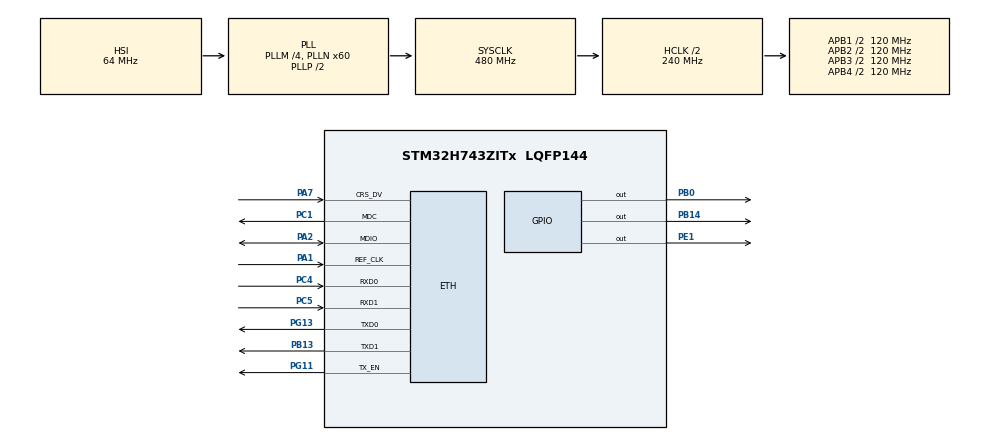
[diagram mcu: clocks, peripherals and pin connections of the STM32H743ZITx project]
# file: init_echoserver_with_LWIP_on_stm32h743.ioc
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CORTEX_M7.AccessPermission-Cortex_Memory_Protection_Unit_Region0_Settings=MPU_REGION_FULL_ACCESS
CORTEX_M7.AccessPermission-Cortex_Memory_Protection_Unit_Region1_Settings=MPU_REGION_FULL_ACCESS
CORTEX_M7.BaseAddress-Cortex_Memory_Protection_Unit_Region0_Settings=0x30040000
CORTEX_M7.BaseAddress-Cortex_Memory_Protection_Unit_Region1_Settings=0x30044000
CORTEX_M7.CPU_DCache=Enabled
CORTEX_M7.CPU_ICache=Enabled
CORTEX_M7.Enable-Cortex_Memory_Protection_Unit_Region0_Settings=MPU_REGION_ENABLE
CORTEX_M7.Enable-Cortex_Memory_Protection_Unit_Region1_Settings=MPU_REGION_ENABLE
CORTEX_M7.IsBufferable-Cortex_Memory_Protection_Unit_Region0_Settings=MPU_ACCESS_BUFFERABLE
CORTEX_M7.IsShareable-Cortex_Memory_Protection_Unit_Region1_Settings=MPU_ACCESS_SHAREABLE
CORTEX_M7.MPU_Control=MPU_PRIVILEGED_DEFAULT
CORTEX_M7.Size-Cortex_Memory_Protection_Unit_Region0_Settings=MPU_REGION_SIZE_256B
CORTEX_M7.Size-Cortex_Memory_Protection_Unit_Region1_Settings=MPU_REGION_SIZE_16KB
CORTEX_M7.TypeExtField-Cortex_Memory_Protection_Unit_Region1_Settings=MPU_TEX_LEVEL1
ETH.MediaInterface=HAL_ETH_RMII_MODE
FREERTOS.Tasks01=TCPechoserverTa,24,256,StartTCPechoserverTask,Default,NULL,Dynamic,NULL,NULL
FREERTOS.configUSE_NEWLIB_REENTRANT=1
LWIP.BSP.number=1
LWIP.GATEWAY_ADDRESS=192.168.001.001
LWIP.IP_ADDRESS=192.168.033.007
LWIP.LWIP_DHCP=0
LWIP.NETMASK_ADDRESS=255.255.255.000
LWIP.Version=v2.1.2_Cube
LWIP0.BSP.STBoard=false
LWIP0.BSP.api=BSP_COMPONENT_DRIVER
LWIP0.BSP.component=LAN8742
LWIP0.BSP.i2caddr=0
LWIP0.BSP.instance=LAN8742
LWIP0.BSP.name=Driver_PHY
LWIP0.BSP.solution=LAN8742
Mcu.Family=STM32H7
Mcu.Name=STM32H743ZITx
Mcu.Package=LQFP144
NVIC.ETH_IRQn=true\:5\:0\:false\:false\:true\:true\:true\:true
NVIC.PriorityGroup=NVIC_PRIORITYGROUP_4
NVIC.RCC_IRQn=true\:5\:0\:false\:false\:true\:true\:true\:false
NVIC.TIM1_UP_IRQn=true\:15\:0\:false\:false\:true\:false\:false\:true
NVIC.TimeBase=TIM1_UP_IRQn
NVIC.TimeBaseIP=TIM1
PA1.Mode=RMII
PA1.Signal=ETH_REF_CLK
PA2.Mode=RMII
PA2.Signal=ETH_MDIO
PA7.Mode=RMII
PA7.Signal=ETH_CRS_DV
PB0.Signal=GPIO_Output
PB13.Mode=RMII
PB13.Signal=ETH_TXD1
PB14.Signal=GPIO_Output
PC1.Mode=RMII
PC1.Signal=ETH_MDC
PC4.Mode=RMII
PC4.Signal=ETH_RXD0
PC5.Mode=RMII
PC5.Signal=ETH_RXD1
PE1.Signal=GPIO_Output
PG11.Mode=RMII
PG11.Signal=ETH_TX_EN
PG13.Mode=RMII
PG13.Signal=ETH_TXD0
ProjectManager.HeapSize=0x200
ProjectManager.StackSize=0x400
ProjectManager.TargetToolchain=STM32CubeIDE
RCC.ADCFreq_Value=129000000
RCC.APB1Freq_Value=120000000
RCC.APB2Freq_Value=120000000
RCC.APB3Freq_Value=120000000
RCC.APB4Freq_Value=120000000
RCC.CortexFreq_Value=480000000
RCC.D1PPRE=RCC_APB3_DIV2
RCC.D2PPRE1=RCC_APB1_DIV2
RCC.D2PPRE2=RCC_APB2_DIV2
RCC.D3PPRE=RCC_APB4_DIV2
RCC.DIVM1=4
RCC.DIVN1=60
RCC.HCLKFreq_Value=240000000
RCC.HPRE=RCC_HCLK_DIV2
RCC.SYSCLKFreq_VALUE=480000000
RCC.SYSCLKSource=RCC_SYSCLKSOURCE_PLLCLK
RCC.USBFreq_Value=480000000
VP_FREERTOS_VS_CMSIS_V2.Mode=CMSIS_V2
VP_LWIP_VS_Enabled.Mode=Enabled
VP_SYS_VS_tim1.Mode=TIM1
board=custom

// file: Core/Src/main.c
/* USER CODE BEGIN Header */
/**
  ******************************************************************************
  * @file           : main.c
  * @brief          : Main program body
  ******************************************************************************
  * @attention
  *
  * <h2><center>&copy; Copyright (c) 2021 STMicroelectronics.
  * All rights reserved.</center></h2>
  *
  * This software component is licensed by ST under BSD 3-Clause license,
  * the "License"; You may not use this file except in compliance with the
  * License. You may obtain a copy of the License at:
  *                        opensource.org/licenses/BSD-3-Clause
  *
  ******************************************************************************
  */
/* USER CODE END Header */
#include "main.h"
#include "cmsis_os.h"
#include "lwip.h"

/* USER CODE BEGIN Includes */
#include "api.h"
#include "netbuf.h"
/* USER CODE END Includes */

/* Definitions for TCPechoserverTa */
osThreadId_t TCPechoserverTaHandle;
const osThreadAttr_t TCPechoserverTa_attributes = {
  .name = "TCPechoserverTa",
  .stack_size = 256 * 4,
  .priority = (osPriority_t) osPriorityNormal,
};

void SystemClock_Config(void);
static void MPU_Config(void);
static void MX_GPIO_Init(void);
void StartTCPechoserverTask(void *argument);

int main(void)
{

  /* MPU Configuration--------------------------------------------------------*/
  MPU_Config();

  /* Enable I-Cache---------------------------------------------------------*/
  SCB_EnableICache();

  /* Enable D-Cache---------------------------------------------------------*/
  SCB_EnableDCache();

  /* MCU Configuration--------------------------------------------------------*/

  /* Reset of all peripherals, Initializes the Flash interface and the Systick. */
  HAL_Init();

  /* Configure the system clock */
  SystemClock_Config();

  /* Initialize all configured peripherals */
  MX_GPIO_Init();

  /* Init scheduler */
  osKernelInitialize();

  /* Create the thread(s) */
  /* creation of TCPechoserverTa */
  TCPechoserverTaHandle = osThreadNew(StartTCPechoserverTask, NULL, &TCPechoserverTa_attributes);

  /* Start scheduler */
  osKernelStart();

  /* We should never get here as control is now taken by the scheduler */
  /* Infinite loop */
  while (1)
  {

  }
}

void SystemClock_Config(void)
{
  RCC_OscInitTypeDef RCC_OscInitStruct = {0};
  RCC_ClkInitTypeDef RCC_ClkInitStruct = {0};

  /** Supply configuration update enable
  */
  HAL_PWREx_ConfigSupply(PWR_LDO_SUPPLY);
  /** Configure the main internal regulator output voltage
  */
  __HAL_PWR_VOLTAGESCALING_CONFIG(PWR_REGULATOR_VOLTAGE_SCALE0);

  while(!__HAL_PWR_GET_FLAG(PWR_FLAG_VOSRDY)) {}
  /** Initializes the RCC Oscillators according to the specified parameters
  * in the RCC_OscInitTypeDef structure.
  */
  RCC_OscInitStruct.OscillatorType = RCC_OSCILLATORTYPE_HSI;
  RCC_OscInitStruct.HSIState = RCC_HSI_DIV1;
  RCC_OscInitStruct.HSICalibrationValue = RCC_HSICALIBRATION_DEFAULT;
  RCC_OscInitStruct.PLL.PLLState = RCC_PLL_ON;
  RCC_OscInitStruct.PLL.PLLSource = RCC_PLLSOURCE_HSI;
  RCC_OscInitStruct.PLL.PLLM = 4;
  RCC_OscInitStruct.PLL.PLLN = 60;
  RCC_OscInitStruct.PLL.PLLP = 2;
  RCC_OscInitStruct.PLL.PLLQ = 2;
  RCC_OscInitStruct.PLL.PLLR = 2;
  RCC_OscInitStruct.PLL.PLLRGE = RCC_PLL1VCIRANGE_3;
  RCC_OscInitStruct.PLL.PLLVCOSEL = RCC_PLL1VCOWIDE;
  RCC_OscInitStruct.PLL.PLLFRACN = 0;
  if (HAL_RCC_OscConfig(&RCC_OscInitStruct) != HAL_OK)
  {
    Error_Handler();
  }
  /** Initializes the CPU, AHB and APB buses clocks
  */
  RCC_ClkInitStruct.ClockType = RCC_CLOCKTYPE_HCLK|RCC_CLOCKTYPE_SYSCLK
                              |RCC_CLOCKTYPE_PCLK1|RCC_CLOCKTYPE_PCLK2
                              |RCC_CLOCKTYPE_D3PCLK1|RCC_CLOCKTYPE_D1PCLK1;
  RCC_ClkInitStruct.SYSCLKSource = RCC_SYSCLKSOURCE_PLLCLK;
  RCC_ClkInitStruct.SYSCLKDivider = RCC_SYSCLK_DIV1;
  RCC_ClkInitStruct.AHBCLKDivider = RCC_HCLK_DIV2;
  RCC_ClkInitStruct.APB3CLKDivider = RCC_APB3_DIV2;
  RCC_ClkInitStruct.APB1CLKDivider = RCC_APB1_DIV2;
  RCC_ClkInitStruct.APB2CLKDivider = RCC_APB2_DIV2;
  RCC_ClkInitStruct.APB4CLKDivider = RCC_APB4_DIV2;

  if (HAL_RCC_ClockConfig(&RCC_ClkInitStruct, FLASH_LATENCY_4) != HAL_OK)
  {
    Error_Handler();
  }
}

static void MX_GPIO_Init(void)
{
  GPIO_InitTypeDef GPIO_InitStruct = {0};

  /* GPIO Ports Clock Enable */
  __HAL_RCC_GPIOC_CLK_ENABLE();
  __HAL_RCC_GPIOA_CLK_ENABLE();
  __HAL_RCC_GPIOB_CLK_ENABLE();
  __HAL_RCC_GPIOG_CLK_ENABLE();
  __HAL_RCC_GPIOE_CLK_ENABLE();

  /*Configure GPIO pin Output Level */
  HAL_GPIO_WritePin(GPIOB, GPIO_PIN_0|GPIO_PIN_14, GPIO_PIN_RESET);

  /*Configure GPIO pin Output Level */
  HAL_GPIO_WritePin(GPIOE, GPIO_PIN_1, GPIO_PIN_RESET);

  /*Configure GPIO pins : PB0 PB14 */
  GPIO_InitStruct.Pin = GPIO_PIN_0|GPIO_PIN_14;
  GPIO_InitStruct.Mode = GPIO_MODE_OUTPUT_PP;
  GPIO_InitStruct.Pull = GPIO_NOPULL;
  GPIO_InitStruct.Speed = GPIO_SPEED_FREQ_LOW;
  HAL_GPIO_Init(GPIOB, &GPIO_InitStruct);

  /*Configure GPIO pin : PE1 */
  GPIO_InitStruct.Pin = GPIO_PIN_1;
  GPIO_InitStruct.Mode = GPIO_MODE_OUTPUT_PP;
  GPIO_InitStruct.Pull = GPIO_NOPULL;
  GPIO_InitStruct.Speed = GPIO_SPEED_FREQ_LOW;
  HAL_GPIO_Init(GPIOE, &GPIO_InitStruct);

}

void StartTCPechoserverTask(void *argument)
{
  /* init code for LWIP */
  MX_LWIP_Init();
  /* USER CODE BEGIN 5 */
  struct netconn *conn1,*conn2;
  struct netbuf *Netbuf;
  void *Data;
	uint16_t Len;
  err_t  Err,accept_Err;

	conn1 = netconn_new(NETCONN_TCP);
	// struct netconn * netconn_new ( enum netconn_type t );

	if (conn1 != NULL)
	{
		Err = netconn_bind(conn1, NULL, 8080);
		// err_t netconn_bind ( struct netconn * aNetConn, ip_addr_t * aAddr, u16_t aPort );

		if (Err == ERR_OK)
		{
			netconn_listen(conn1);
			//err_t netconn_listen ( struct netconn * aNetconn );

			while (1)
			{
				accept_Err = netconn_accept(conn1, &conn2);
				// err_t netconn_accept ( struct netconn * aNetConn, struct netconn ** aNewConn );

				if (accept_Err == ERR_OK)
				{
					HAL_GPIO_WritePin(GPIOB, GPIO_PIN_0, GPIO_PIN_SET);

					while (netconn_recv(conn2, &Netbuf) == ERR_OK)
					{
						//err_t netconn_recv ( struct netconn * aNetConn, struct netbuf ** aNetBuf );

						do
						{
							netbuf_data(Netbuf, &Data, &Len);
							//err_t netbuf_data ( struct netbuf * aNetBuf, void ** aData, u16_t * aLen );

							netconn_write(conn2, Data, Len, NETCONN_COPY);
							//	err_t netconn_write ( struct netconn * aNetConn, const void * aData, size_t aSize, u8_t aApiFlags );

						} while (netbuf_next(Netbuf) >= 0);

						netbuf_delete(Netbuf);
						// void netbuf_delete ( struct netbuf * aNetBuf );
					}

					netconn_close(conn2);
					netconn_delete(conn2);
					// err_t netconn_delete ( struct netconn * aNetConn );

					HAL_GPIO_WritePin(GPIOB, GPIO_PIN_0, GPIO_PIN_RESET);
				}
			}
		}

		else
		{
			netconn_delete(conn1);
		}
	}

  /* Infinite loop */
  for(;;)
  {
    osDelay(1000);
  }
  /* USER CODE END 5 */
}

/* MPU Configuration */

void MPU_Config(void)
{
  MPU_Region_InitTypeDef MPU_InitStruct = {0};

  /* Disables the MPU */
  HAL_MPU_Disable();
  /** Initializes and configures the Region and the memory to be protected
  */
  MPU_InitStruct.Enable = MPU_REGION_ENABLE;
  MPU_InitStruct.Number = MPU_REGION_NUMBER0;
  MPU_InitStruct.BaseAddress = 0x30040000;
  MPU_InitStruct.Size = MPU_REGION_SIZE_256B;
  MPU_InitStruct.SubRegionDisable = 0x0;
  MPU_InitStruct.TypeExtField = MPU_TEX_LEVEL0;
  MPU_InitStruct.AccessPermission = MPU_REGION_FULL_ACCESS;
  MPU_InitStruct.DisableExec = MPU_INSTRUCTION_ACCESS_ENABLE;
  MPU_InitStruct.IsShareable = MPU_ACCESS_NOT_SHAREABLE;
  MPU_InitStruct.IsCacheable = MPU_ACCESS_NOT_CACHEABLE;
  MPU_InitStruct.IsBufferable = MPU_ACCESS_BUFFERABLE;

  HAL_MPU_ConfigRegion(&MPU_InitStruct);
  /** Initializes and configures the Region and the memory to be protected
  */
  MPU_InitStruct.Number = MPU_REGION_NUMBER1;
  MPU_InitStruct.BaseAddress = 0x30044000;
  MPU_InitStruct.Size = MPU_REGION_SIZE_16KB;
  MPU_InitStruct.TypeExtField = MPU_TEX_LEVEL1;
  MPU_InitStruct.IsShareable = MPU_ACCESS_SHAREABLE;
  MPU_InitStruct.IsBufferable = MPU_ACCESS_NOT_BUFFERABLE;

  HAL_MPU_ConfigRegion(&MPU_InitStruct);
  /* Enables the MPU */
  HAL_MPU_Enable(MPU_PRIVILEGED_DEFAULT);

}

void HAL_TIM_PeriodElapsedCallback(TIM_HandleTypeDef *htim)
{
  if (htim->Instance == TIM1) {
    HAL_IncTick();
  }
}

void Error_Handler(void)
{
  __disable_irq();
  while (1)
  {
  }
}

/************************ (C) COPYRIGHT STMicroelectronics *****END OF FILE****/
